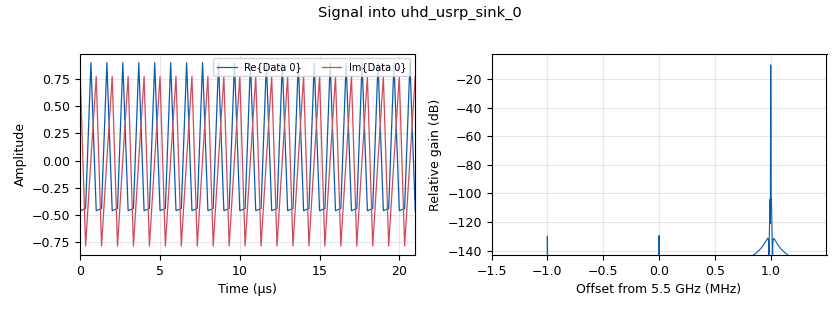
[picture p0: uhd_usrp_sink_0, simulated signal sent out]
options:
  parameters:
    generate_options: qt_gui
    id: ProbeTone
    output_language: python
    title: Prueba Tono
  states: {}

blocks:
- name: amplitude
  id: variable
  parameters:
    value: '900e-3'
  states: {}
- name: decimRate
  id: variable
  parameters:
    value: '100'
  states: {}
- name: freq
  id: variable
  parameters:
    value: 5.63e9
  states: {state: disabled}
- name: freq
  id: variable_qtgui_range
  parameters:
    start: 5e9
    step: 50e6
    stop: 6e9
    value: 5.5e9
  states: {}
- name: rx_gain
  id: variable_qtgui_range
  parameters:
    start: '0'
    step: '1'
    stop: '50'
    value: '20'
  states: {}
- name: samp_rate
  id: variable
  parameters:
    value: 3e6
  states: {}
- name: tx_gain
  id: variable_qtgui_range
  parameters:
    start: '0'
    step: '1'
    stop: '50'
    value: '20'
  states: {}
- name: window_size
  id: variable
  parameters:
    value: '2048'
  states: {}
- name: analog_sig_source_x_0
  id: analog_sig_source_x
  parameters:
    amp: '900e-3'
    freq: 1e6
    offset: '0'
    phase: '0'
    samp_rate: samp_rate
    type: complex
    waveform: analog.GR_SIN_WAVE
  states: {}
- name: blocks_complex_to_arg_0
  id: blocks_complex_to_arg
  parameters: {}
  states: {state: disabled}
- name: blocks_multiply_conjugate_cc_0
  id: blocks_multiply_conjugate_cc
  parameters: {}
  states: {state: disabled}
- name: qtgui_freq_sink_x_0
  id: qtgui_freq_sink_x
  parameters:
    bw: samp_rate
    fc: '0'
    fftsize: '2048'
    type: complex
  states: {}
- name: qtgui_time_sink_x_0
  id: qtgui_time_sink_x
  parameters:
    size: '5000'
    srate: '244.141'
    type: float
  states: {state: disabled}
- name: rational_resampler_xxx_0
  id: rational_resampler_xxx
  parameters:
    decim: decimRate
    fbw: '400e-3'
    interp: '1'
    type: ccc
  states: {state: disabled}
- name: uhd_usrp_sink_0
  id: uhd_usrp_sink
  parameters:
    ant0: '"TX/RX"'
    bw0: samp_rate
    center_freq0: freq
    gain0: tx_gain
    samp_rate: samp_rate
    sync: sync
    type: fc32
  states: {}
- name: uhd_usrp_source_0
  id: uhd_usrp_source
  parameters:
    ant0: '"RX2"'
    center_freq0: freq
    gain0: rx_gain
    samp_rate: samp_rate
    sync: none
    type: fc32
  states: {}

connections:
- [analog_sig_source_x_0, '0', blocks_multiply_conjugate_cc_0, '0']
- [analog_sig_source_x_0, '0', uhd_usrp_sink_0, '0']
- [blocks_complex_to_arg_0, '0', qtgui_time_sink_x_0, '0']
- [blocks_multiply_conjugate_cc_0, '0', rational_resampler_xxx_0, '0']
- [rational_resampler_xxx_0, '0', blocks_complex_to_arg_0, '0']
- [uhd_usrp_source_0, '0', blocks_multiply_conjugate_cc_0, '1']
- [uhd_usrp_source_0, '0', qtgui_freq_sink_x_0, '0']

metadata:
  file_format: 1
  grc_version: 3.10.8.0
